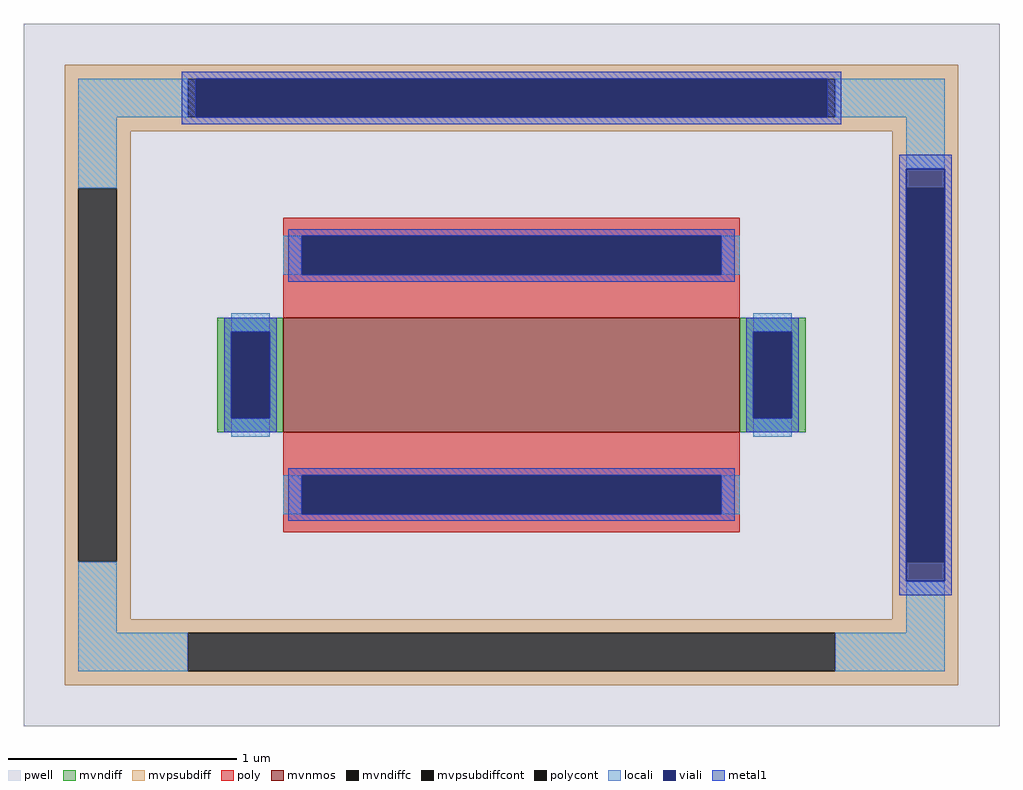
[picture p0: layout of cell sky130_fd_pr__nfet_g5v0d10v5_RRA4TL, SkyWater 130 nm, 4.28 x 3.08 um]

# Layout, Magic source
magic
tech sky130A
magscale 1 2
<< pwell >>
rect -428 -308 428 308
<< mvnmos >>
rect -200 -50 200 50
<< mvndiff >>
rect -258 38 -200 50
rect -258 -38 -246 38
rect -212 -38 -200 38
rect -258 -50 -200 -38
rect 200 38 258 50
rect 200 -38 212 38
rect 246 -38 258 38
rect 200 -50 258 -38
<< mvndiffc >>
rect -246 -38 -212 38
rect 212 -38 246 38
<< mvpsubdiff >>
rect -392 260 392 272
rect -392 226 -284 260
rect 284 226 392 260
rect -392 214 392 226
rect -392 164 -334 214
rect -392 -164 -380 164
rect -346 -164 -334 164
rect 334 164 392 214
rect -392 -214 -334 -164
rect 334 -164 346 164
rect 380 -164 392 164
rect 334 -214 392 -164
rect -392 -226 392 -214
rect -392 -260 -284 -226
rect 284 -260 392 -226
rect -392 -272 392 -260
<< mvpsubdiffcont >>
rect -284 226 284 260
rect -380 -164 -346 164
rect 346 -164 380 164
rect -284 -260 284 -226
<< poly >>
rect -200 122 200 138
rect -200 88 -184 122
rect 184 88 200 122
rect -200 50 200 88
rect -200 -88 200 -50
rect -200 -122 -184 -88
rect 184 -122 200 -88
rect -200 -138 200 -122
<< polycont >>
rect -184 88 184 122
rect -184 -122 184 -88
<< locali >>
rect -380 226 -284 260
rect 284 226 380 260
rect -380 164 -346 226
rect 346 181 380 226
rect -200 88 -184 122
rect 184 88 200 122
rect -246 38 -212 54
rect -246 -54 -212 -38
rect 212 38 246 54
rect 212 -54 246 -38
rect -200 -122 -184 -88
rect 184 -122 200 -88
rect -380 -226 -346 -164
rect 346 -226 380 -181
rect -380 -260 -284 -226
rect 284 -260 380 -226
<< viali >>
rect -277 226 277 260
rect 346 164 380 181
rect -184 88 184 122
rect -246 -38 -212 38
rect 212 -38 246 38
rect -184 -122 184 -88
rect 346 -164 380 164
rect 346 -181 380 -164
<< metal1 >>
rect -289 260 289 266
rect -289 226 -277 260
rect 277 226 289 260
rect -289 220 289 226
rect 340 181 386 193
rect -196 122 196 128
rect -196 88 -184 122
rect 184 88 196 122
rect -196 82 196 88
rect -252 38 -206 50
rect -252 -38 -246 38
rect -212 -38 -206 38
rect -252 -50 -206 -38
rect 206 38 252 50
rect 206 -38 212 38
rect 246 -38 252 38
rect 206 -50 252 -38
rect -196 -88 196 -82
rect -196 -122 -184 -88
rect 184 -122 196 -88
rect -196 -128 196 -122
rect 340 -181 346 181
rect 380 -181 386 181
rect 340 -193 386 -181
<< properties >>
string FIXED_BBOX -363 -243 363 243
string gencell sky130_fd_pr__nfet_g5v0d10v5
string library sky130
string parameters w 0.5 l 2 m 1 nf 1 diffcov 100 polycov 100 guard 1 glc 1 grc 1 gtc 1 gbc 1 tbcov 100 rlcov 100 topc 1 botc 1 poverlap 0 doverlap 1 lmin 0.50 wmin 0.42 compatible {sky130_fd_pr__nfet_01v8 sky130_fd_pr__nfet_01v8_lvt  sky130_fd_bs_flash__special_sonosfet_star  sky130_fd_pr__nfet_g5v0d10v5 sky130_fd_pr__nfet_05v0_nvt  sky130_fd_pr__nfet_03v3_nvt} full_metal 1 viasrc 100 viadrn 100 viagate 100 viagb 0 viagr 80 viagl 0 viagt 80
<< end >>
